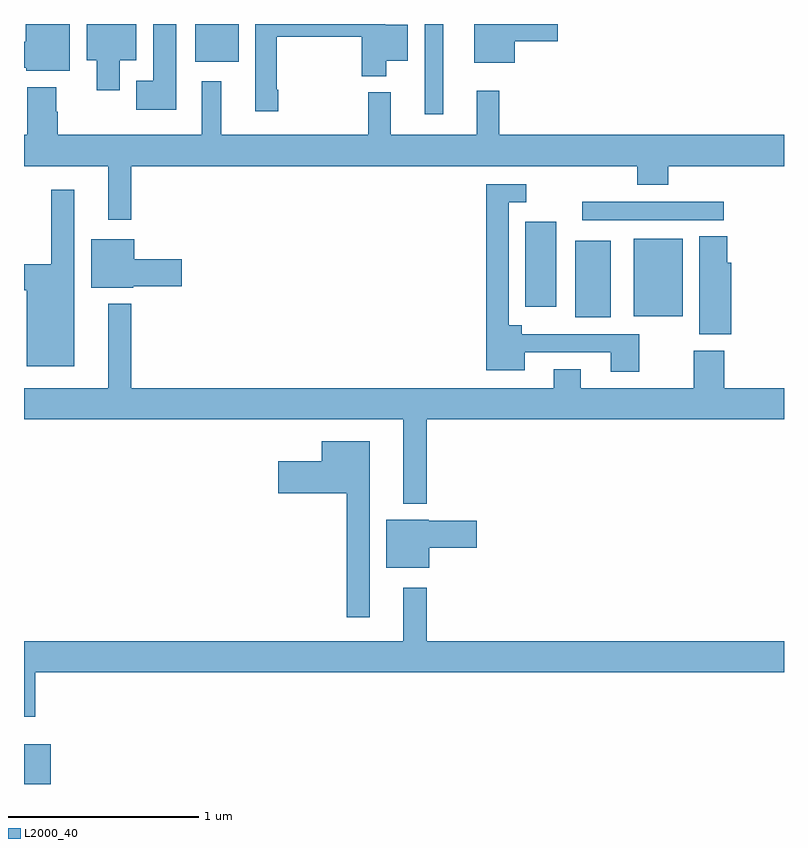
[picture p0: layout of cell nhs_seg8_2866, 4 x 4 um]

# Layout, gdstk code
import gdstk
lib = gdstk.Library(unit=1e-6, precision=1e-09)
def R(c, l, rs):  # rectangles x0, y0, x1, y1
    for r in rs: c.add(gdstk.rectangle(r[:2], r[2:], *l))
def P(c, l, *ps):  # polygons
    for p in ps: c.add(gdstk.Polygon(p, *l))
L2000_40 = (2000, 40)

nhs_seg8_2866 = lib.new_cell('nhs_seg8_2866')
R(nhs_seg8_2866, L2000_40, [(291,1127.9,291.142,1128.109), (293.9,1130.357,294.088,1130.758), (294.209,1130.363,294.466,1130.77), (293.639,1130.412,293.8,1130.86), (293.937,1130.868,294.682,1130.964), (293.109,1131.426,293.206,1131.9), (291.902,1131.701,292.129,1131.9)])
P(nhs_seg8_2866, L2000_40, [(292.339,1131.553),(292.331,1131.553),(292.331,1131.832),(292.777,1131.832),(292.777,1131.626),(292.906,1131.626),(292.906,1131.707),(293.02,1131.707),(293.02,1131.895),(292.9,1131.895),(292.9,1131.9),(292.217,1131.9),(292.217,1131.441),(292.339,1131.441)],
  [(291.241,1131.9),(291.008,1131.9),(291.008,1131.806),(291,1131.806),(291,1131.671),(291.012,1131.671),(291.012,1131.653),(291.241,1131.653)],
  [(291.802,1131.9),(291.68,1131.9),(291.68,1131.601),(291.59,1131.601),(291.59,1131.449),(291.802,1131.449)],
  [(293.584,1131.809),(293.809,1131.809),(293.809,1131.9),(293.369,1131.9),(293.369,1131.695),(293.584,1131.695)],
  [(291.505,1131.71),(291.592,1131.71),(291.592,1131.9),(291.329,1131.9),(291.329,1131.71),(291.383,1131.71),(291.383,1131.552),(291.505,1131.552)],
  [(291.565,1131.152),(294.227,1131.152),(294.227,1131.053),(294.392,1131.053),(294.392,1131.152),(295,1131.152),(295,1131.316),(293.501,1131.316),(293.501,1131.55),(293.384,1131.55),(293.384,1131.316),(292.931,1131.316),(292.931,1131.541),(292.813,1131.541),(292.813,1131.316),(292.039,1131.316),(292.039,1131.598),(291.935,1131.598),(291.935,1131.316),(291.177,1131.316),(291.177,1131.437),(291.169,1131.437),(291.169,1131.568),(291.017,1131.568),(291.017,1131.316),(291,1131.316),(291,1131.152),(291.443,1131.152),(291.443,1130.871),(291.565,1130.871)],
  [(294.237,1130.268),(293.62,1130.268),(293.62,1130.314),(293.55,1130.314),(293.55,1130.961),(293.644,1130.961),(293.644,1131.057),(293.434,1131.057),(293.434,1130.078),(293.635,1130.078),(293.635,1130.172),(294.089,1130.172),(294.089,1130.07),(294.237,1130.07)],
  [(291.265,1131.028),(291.144,1131.028),(291.144,1130.636),(291,1130.636),(291,1130.5),(291.014,1130.5),(291.014,1130.099),(291.265,1130.099)],
  [(294.722,1130.643),(294.701,1130.643),(294.701,1130.783),(294.554,1130.783),(294.554,1130.267),(294.722,1130.267)],
  [(291.576,1130.519),(291.829,1130.519),(291.829,1130.661),(291.58,1130.661),(291.58,1130.767),(291.353,1130.767),(291.353,1130.513),(291.576,1130.513)],
  [(293.119,1129.82),(295,1129.82),(295,1129.984),(294.686,1129.984),(294.686,1130.179),(294.526,1130.179),(294.526,1129.984),(293.929,1129.984),(293.929,1130.083),(293.789,1130.083),(293.789,1129.984),(291.565,1129.984),(291.565,1130.428),(291.443,1130.428),(291.443,1129.984),(291,1129.984),(291,1129.82),(292.997,1129.82),(292.997,1129.376),(293.119,1129.376)],
  [(292.819,1129.705),(292.568,1129.705),(292.568,1129.6),(292.338,1129.6),(292.338,1129.43),(292.698,1129.43),(292.698,1128.777),(292.819,1128.777)],
  [(293.134,1129.144),(293.383,1129.144),(293.383,1129.286),(293.13,1129.286),(293.13,1129.291),(292.907,1129.291),(292.907,1129.037),(293.134,1129.037)],
  [(291.059,1128.488),(295,1128.488),(295,1128.652),(293.119,1128.652),(293.119,1128.934),(292.997,1128.934),(292.997,1128.652),(291,1128.652),(291,1128.255),(291.059,1128.255)])

lib.write_gds('nhs_seg8_2866.gds')
